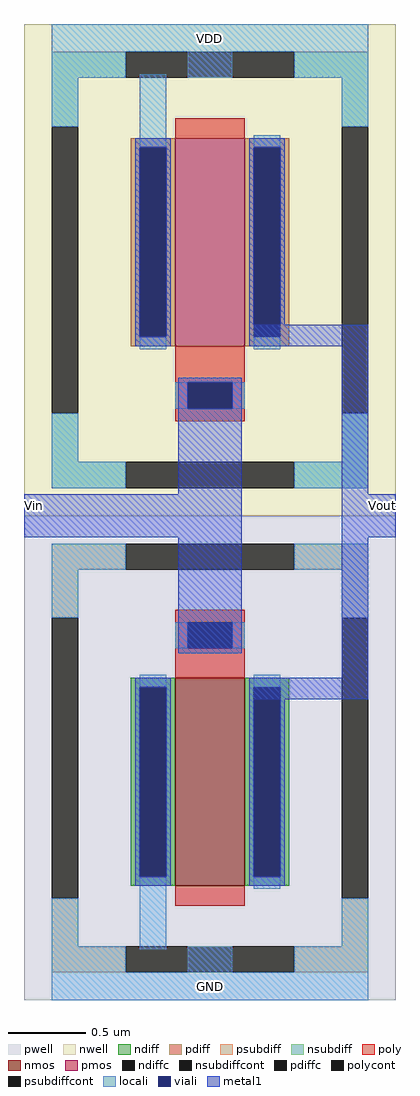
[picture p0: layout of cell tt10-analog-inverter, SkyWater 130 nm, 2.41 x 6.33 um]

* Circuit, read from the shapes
.subckt tt10-analog-inverter VDD GND Vin Vout
XM1 Vout Vin GND GND sky130_fd_pr__nfet_01v8 w=1.35 l=0.45
XM2 Vout Vin VDD VDD sky130_fd_pr__pfet_01v8 w=1.35 l=0.45
.ends

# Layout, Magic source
magic
tech sky130A
magscale 1 2
<< locali >>
rect -70 496 340 532
rect 44 383 78 467
rect 106 462 164 496
rect -70 -698 26 -664
rect 44 -668 78 -584
rect 106 -698 164 -664
rect -70 -734 340 -698
<< metal1 >>
rect 192 114 340 142
rect 94 -78 176 33
rect -106 -134 176 -78
rect 94 -284 176 -134
rect 306 -78 340 114
rect 306 -134 376 -78
rect 306 -316 340 -134
rect 192 -344 340 -316
use sky130_fd_pr__pfet_01v8_E93L2H  M1
transform 1 0 135 0 1 213
box -241 -319 241 319
use sky130_fd_pr__nfet_01v8_UFL937  M2
transform 1 0 135 0 1 -420
box -241 -314 241 314
<< labels >>
flabel locali s 134 513 134 513 0 FreeSans 480 0 0 0 VDD
port 8 nsew
flabel locali s 135 -717 135 -717 0 FreeSans 480 0 0 0 GND
port 9 nsew
flabel metal1 s -93 -92 -93 -92 0 FreeSans 480 0 0 0 Vin
port 10 nsew
flabel metal1 s 359 -92 359 -92 0 FreeSans 480 0 0 0 Vout
port 11 nsew
<< end >>

# cell sky130_fd_pr__pfet_01v8_E93L2H: kit device sky130_fd_pr__pfet_01v8, w 1.35 l 0.45 m 1 nf 1 diffcov 100 polycov 100 guard 1 glc 1 grc 1 gtc 1 gbc 1 tbcov 100 rlcov 100 topc 0 botc 1 poverlap 0 doverlap 1 lmin 0.15 wmin 0.42 compatible {sky130_fd_pr__pfet_01v8 sky130_fd_pr__pfet_01v8_lvt sky130_fd_pr__pfet_01v8_hvt sky130_fd_pr__pfet_g5v0d10v5} full_metal 1 viasrc 100 viadrn 100 viagate 100 viagb 0 viagr 0 viagl 0 viagt 0

# cell sky130_fd_pr__nfet_01v8_UFL937: kit device sky130_fd_pr__nfet_01v8, w 1.35 l 0.450 m 1 nf 1 diffcov 100 polycov 100 guard 1 glc 1 grc 1 gtc 1 gbc 1 tbcov 100 rlcov 100 topc 1 botc 0 poverlap 0 doverlap 1 lmin 0.15 wmin 0.42 compatible {sky130_fd_pr__nfet_01v8 sky130_fd_pr__nfet_01v8_lvt sky130_fd_bs_flash__special_sonosfet_star sky130_fd_pr__nfet_g5v0d10v5 sky130_fd_pr__nfet_05v0_nvt sky130_fd_pr__nfet_03v3_nvt} full_metal 1 viasrc 100 viadrn 100 viagate 100 viagb 0 viagr 0 viagl 0 viagt 0
